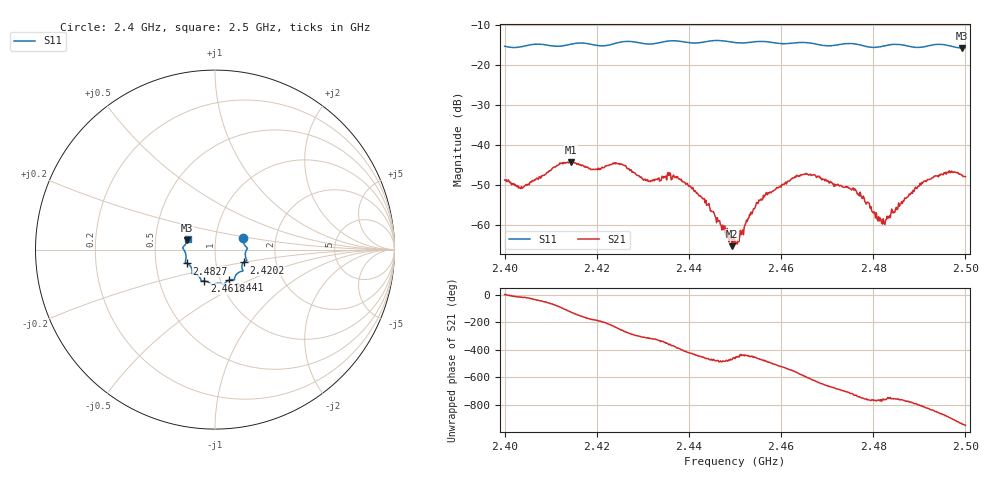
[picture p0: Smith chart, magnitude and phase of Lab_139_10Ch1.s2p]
# Hz S RI R 50
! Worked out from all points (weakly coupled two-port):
!   601 points, 2.4 GHz to 2.5 GHz, reference 50 ohm
!   highest |S21| = -44.25 dB at 2.4143 GHz (marker M1); lowest = -65.3 dB at 2.4493 GHz (marker M2)
!   lowest |S11| = -15.8 dB at 2.4993 GHz (marker M3), VSWR 1.39, Z = 36.5 + j3.81 ohm
!   |S11| at or under -10 dB: start of sweep to end of sweep
!   S12 and S22 are empty: the file has one direction only
!   S11 on the Smith chart (normalised r, x): 2.4 GHz: 1.36, +0.18; 2.4202 GHz: 1.36, -0.20; 2.441 GHz: 1.10, -0.39; 2.4618 GHz: 0.84, -0.30; 2.4827 GHz: 0.72, -0.11; 2.5 GHz: 0.73, +0.09
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2.4e9  0.1585 0.0628  0.00362 0.000165  0 0  0 0
2.403833e9  0.1679 0.0213  0.00274 -0.00085  0 0  0 0
2.414333e9  0.1732 -0.0518  -0.00335 -0.00513  0 0  0 0
2.416667e9  0.1771 -0.0608  -0.00497 -0.00233  0 0  0 0
2.420167e9  0.159 -0.0716  -0.00485 0.00063  0 0  0 0
2.424667e9  0.1533 -0.1114  -0.00252 0.00526  0 0  0 0
2.430333e9  0.1335 -0.1262  0.00235 0.00287  0 0  0 0
2.433333e9  0.1116 -0.1508  0.00328 0.00194  0 0  0 0
2.437e9  0.1077 -0.168  0.00373 -0.00115  0 0  0 0
2.441e9  0.0788 -0.1699  0.000832 -0.00263  0 0  0 0
2.449333e9  0.0349 -0.1886  -0.000211 -0.000499  0 0  0 0
2.45e9  0.0287 -0.1872  -0.000155 -0.000604  0 0  0 0
2.455167e9  -0.013 -0.1954  -0.00051 -0.00198  0 0  0 0
2.461833e9  -0.0589 -0.1752  -0.00351 0.000281  0 0  0 0
2.466667e9  -0.0787 -0.1684  -0.000915 0.00408  0 0  0 0
2.475833e9  -0.1278 -0.1313  0.00266 -0.000479  0 0  0 0
2.4815e9  -0.1464 -0.0827  0.000727 -0.000982  0 0  0 0
2.482667e9  -0.1559 -0.0772  0.000838 -0.000768  0 0  0 0
2.483333e9  -0.1603 -0.0751  0.00105 -0.000703  0 0  0 0
2.491333e9  -0.1694 -0.00814  -0.000657 -0.00349  0 0  0 0
2.499333e9  -0.1542 0.0509  -0.00303 0.00281  0 0  0 0
2.5e9  -0.1523 0.0604  -0.00252 0.00311  0 0  0 0
